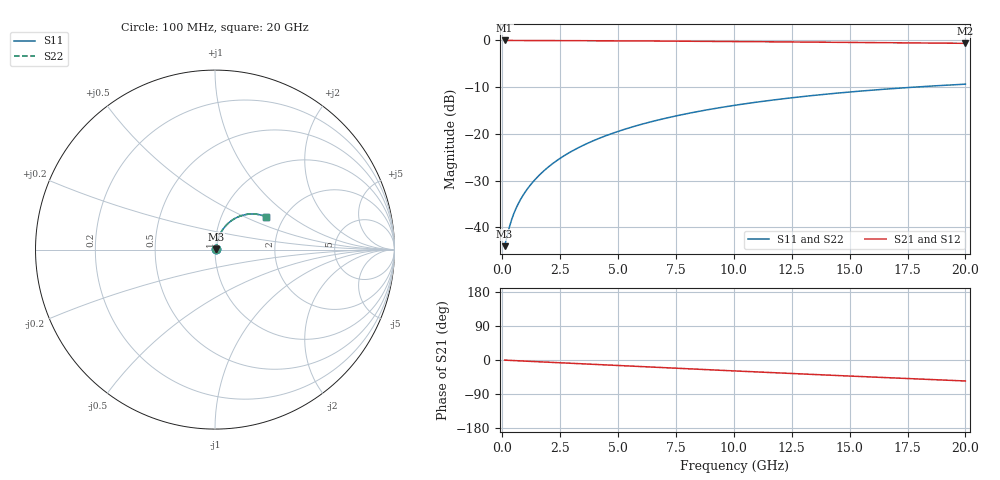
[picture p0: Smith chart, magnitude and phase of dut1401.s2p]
! Touchstone file exported from HFSS 2026.1.0
!  File:  C:/ffzhzh/LocalFiles/Ansys_Project_Files/temp_train_BSMRDL_1401_1783179878_22436.aedt
!  Generated:  11:46:07 PM Jul  4, 2026
!  Design:  BSMRDL
!  Project:  temp_train_BSMRDL_1401_1783179878_22436
! Variables:
!  h_bsmrdl = 2.04um
!  h_ox = 20um
!  h_rdl = 5um
!  h_sub = 80um
!  h_tmrdl = 5um
!  h_tsv = 80um
!  h_via = 3um
!  l_bsmrdl = 901.63um
!  l_sub = 1301.63um
!  l_tmrdl = 200um
!  m_sub = 200um
!  pitch = 44.81um
!  r_tsv = 6um
!  s_tmrdl = 10um
!  w_bsmrdl = 29.14um
!  w_sub = 500um
!  w_tmrdl = 12um
!  x_tsv_center1 = 206um
!  x_tsv_center2 = 1136.77um
!  x_tsv_center3 = 1348.77um
!  x_tsv_center4 = 2279.54um
!  x_tsv_center5 = 2491.54um
!  x_tsv_center6 = 3422.31um
# GHz S MA R 50.000000
! Terminal data exported
! Port[1] = BSM_RDL1_1_T1
! Port[2] = BSM_RDL1_1_T2
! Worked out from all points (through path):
!   200 points, 100 MHz to 20 GHz, reference 50 ohm
!   highest |S21| = -0.05 dB at 100 MHz (marker M1); lowest = -0.7 dB at 20 GHz (marker M2)
!   group delay of S21, straight-line fit = 7.7 ps
!   lowest |S11| = -44.0 dB at 100 MHz (marker M3), VSWR 1.01, Z = 50.6 + j0.268 ohm
!   |S11| at or under -10 dB: start of sweep to 17.86 GHz
!   |S22| runs from -44.0 to -9.4 dB; largest |S21 - S12| = 9.1e-15
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0.1  0.00631 24.9  0.9943 -0.3  0.9943 -0.3  0.00631 24.9
! Gamma 0 0 0 0
! Port Impedance 50 0 50 0
0.3  0.009972 49.8  0.9937 -1.0  0.9937 -1.0  0.009972 49.8
0.4  0.01205 55.2  0.9933 -1.3  0.9933 -1.3  0.01205 55.2
0.5  0.0141 58.8  0.993 -1.6  0.993 -1.6  0.0141 58.8
0.6  0.01613 61.4  0.9927 -1.8  0.9927 -1.8  0.01613 61.4
0.8  0.02013 65.2  0.9922 -2.4  0.9922 -2.4  0.02013 65.2
1  0.02411 67.8  0.9918 -3.0  0.9918 -3.0  0.02411 67.8
1.2  0.02813 69.6  0.9915 -3.6  0.9915 -3.6  0.02813 69.6
1.7  0.0383 72.2  0.9909 -5.0  0.9909 -5.0  0.0383 72.2
2.2  0.0486 73.3  0.9902 -6.5  0.9902 -6.5  0.0486 73.3
2.8  0.06103 73.5  0.9894 -8.2  0.9894 -8.2  0.06102 73.5
3.5  0.0755 72.9  0.9882 -10.3  0.9882 -10.3  0.0755 72.9
4.2  0.08989 71.9  0.9868 -12.3  0.9868 -12.3  0.08989 71.9
5  0.1062 70.3  0.985 -14.6  0.985 -14.6  0.1062 70.3
5.9  0.1242 68.4  0.9826 -17.2  0.9826 -17.2  0.1242 68.4
6.8  0.1419 66.2  0.9799 -19.8  0.9799 -19.8  0.1419 66.2
8.3  0.1704 62.5  0.9749 -24.0  0.9749 -24.0  0.1704 62.5
10.1  0.2029 57.9  0.9681 -29.0  0.9681 -29.0  0.2028 57.9
11.7  0.2299 53.7  0.9616 -33.5  0.9616 -33.5  0.2299 53.7
13.4  0.2566 49.3  0.9543 -38.1  0.9543 -38.1  0.2566 49.3
16.7  0.3022 40.8  0.94 -46.9  0.94 -46.9  0.3022 40.8
20  0.3393 32.5  0.9267 -55.4  0.9267 -55.4  0.3392 32.5
